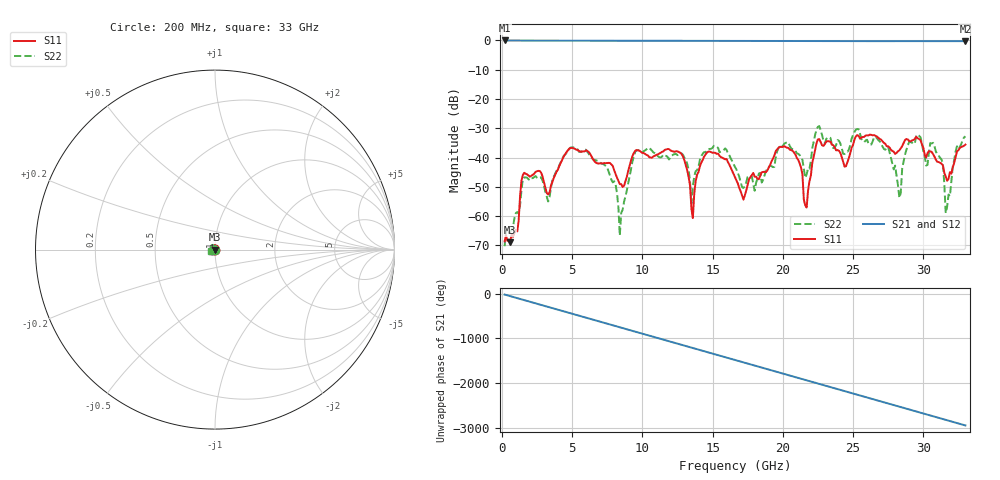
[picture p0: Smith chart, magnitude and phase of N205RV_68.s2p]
# GHZ S RI R 50
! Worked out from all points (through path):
!   329 points, 200 MHz to 33 GHz, reference 50 ohm
!   highest |S21| = -0.02 dB at 200 MHz (marker M1); lowest = -0.3 dB at 33 GHz (marker M2)
!   group delay of S21, straight-line fit = 248 ps
!   lowest |S11| = -68.9 dB at 600 MHz (marker M3), VSWR 1.00, Z = 50 + j0.0172 ohm
!   |S11| at or under -10 dB: start of sweep to end of sweep
!   |S22| runs from -70.3 to -29.3 dB; largest |S21 - S12| = 0.0019
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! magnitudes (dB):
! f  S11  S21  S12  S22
! 200 MHz  -68.7  0.0  0.0  -70.3
! 600 MHz  -68.9  0.0  0.0  -65.3
! 1.6 GHz  -45.2  -0.1  -0.1  -46.8
! 3.3 GHz  -52.6  -0.1  -0.1  -55.0
! 5.7 GHz  -38.0  -0.1  -0.1  -37.9
! 8.1 GHz  -45.7  -0.1  -0.1  -49.1
! 8.4 GHz  -49.1  -0.1  -0.1  -66.7
! 9.5 GHz  -37.7  -0.1  -0.1  -38.0
! 11.2 GHz  -38.7  -0.1  -0.1  -39.9
! 12.9 GHz  -39.7  -0.1  -0.1  -39.1
! 13.6 GHz  -60.7  -0.2  -0.2  -49.9
! 14.6 GHz  -38.3  -0.2  -0.2  -37.5
! 16.6 GHz  -46.8  -0.2  -0.2  -43.2
! 20.4 GHz  -36.7  -0.2  -0.2  -34.8
! 21.7 GHz  -57.1  -0.2  -0.2  -45.8
! 22.1 GHz  -41.8  -0.2  -0.2  -36.9
! 27.6 GHz  -36.6  -0.2  -0.2  -38.2
! 28.3 GHz  -37.5  -0.2  -0.2  -53.8
! 29 GHz  -34.4  -0.2  -0.2  -34.7
! 30.7 GHz  -38.9  -0.2  -0.2  -35.0
! 31.6 GHz  -46.5  -0.2  -0.2  -59.0
! 33 GHz  -35.6  -0.3  -0.3  -32.8
